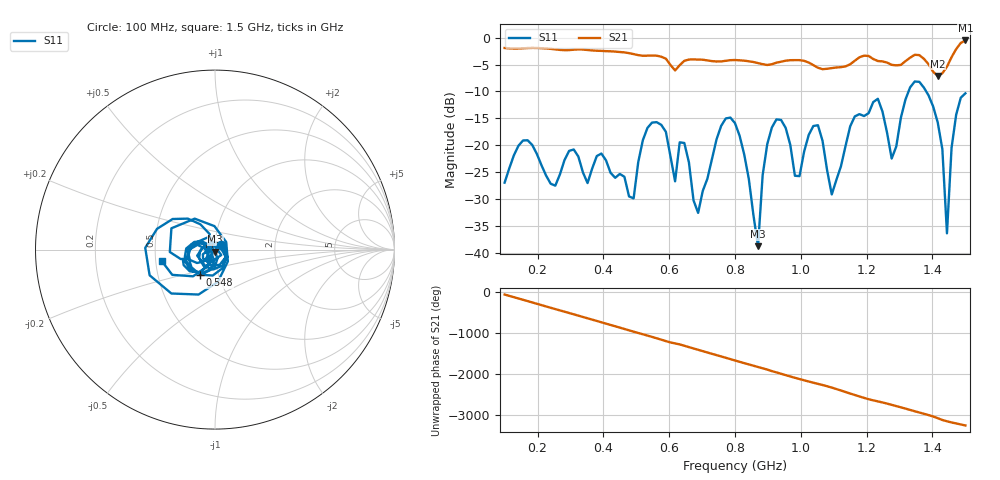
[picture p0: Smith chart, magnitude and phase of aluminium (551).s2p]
! NanoVNA-App
! Date: 2025-09-25 14:59:34
! Start: 100MHz Stop: 1,5GHz Points: 101
! S-Parameter data: F S11 S21 S12 S22
# Hz S RI R 50
!  Frequency  S11_Real  S11_Imag  S21_Real  S21_Imag  S12_Real  S12_Imag  S22_Real  S22_Imag
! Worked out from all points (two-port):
!   101 points, 100 MHz to 1.5 GHz, reference 50 ohm
!   highest |S21| = -0.51 dB at 1.5 GHz (marker M1); lowest = -7.1 dB at 1.416 GHz (marker M2)
!   |S21| within 3 dB of the highest: start of sweep to 574.4 MHz; 1.459 GHz to end of sweep (the widest 2 of 4)
!   lowest |S11| = -38.8 dB at 870 MHz (marker M3), VSWR 1.02, Z = 50.2 - j1.14 ohm
!   |S11| at or under -10 dB: start of sweep to 1.327 GHz; 1.381 GHz to end of sweep
!   S12 and S22 are empty: the file has one direction only
!   S11 on the Smith chart (normalised r, x): 100 MHz: 1.07, +0.06; 548 MHz: 0.82, -0.24; 1.5 GHz: 0.54, -0.07
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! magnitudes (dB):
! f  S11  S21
! 100 MHz  -27.0  -1.9
! 156 MHz  -19.1  -2.0
! 338 MHz  -25.1  -2.2
! 492 MHz  -29.9  -3.1
! 548 MHz  -15.8  -3.3
! 576 MHz  -16.2  -3.5
! 618 MHz  -26.7  -6.1
! 646 MHz  -19.6  -4.3
! 688 MHz  -32.6  -4.1
! 800 MHz  -15.9  -4.1
! 870 MHz  -38.8  -4.7
! 912 MHz  -16.7  -4.9
! 996 MHz  -25.7  -4.2
! 1.038 GHz  -16.4  -5.1
! 1.094 GHz  -29.1  -5.7
! 1.234 GHz  -11.4  -4.3
! 1.276 GHz  -22.5  -5.0
! 1.346 GHz  -8.1  -3.2
! 1.416 GHz  -15.8  -7.1
! 1.444 GHz  -36.4  -5.4
! 1.458 GHz  -20.5  -3.6
! 1.5 GHz  -10.3  -0.5
